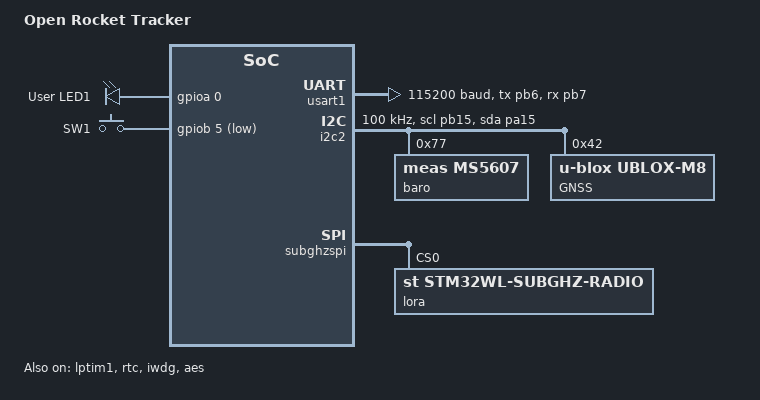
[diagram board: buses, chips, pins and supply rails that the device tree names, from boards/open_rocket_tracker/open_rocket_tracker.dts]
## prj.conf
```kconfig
# Enable LoRa
CONFIG_LORA=y

# Enable comms driver
CONFIG_SERIAL=y
CONFIG_I2C=y
CONFIG_SPI=y 

# Enable GPIO
CONFIG_GPIO=y

# Enable sensors
CONFIG_SENSOR=y

# Enable GNSS
CONFIG_GNSS=y

# Console
CONFIG_CONSOLE=y
CONFIG_PRINTK=y
CONFIG_UART_CONSOLE=y

# Enable MPU
CONFIG_ARM_MPU=y

# Enable HW stack protection
CONFIG_HW_STACK_PROTECTION=y
```

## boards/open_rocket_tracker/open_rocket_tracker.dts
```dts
/*
 * Copyright (c) 2023 Marcin Niestroj
 *
 * SPDX-License-Identifier: Apache-2.0
 */

/dts-v1/;
#include <seeed_studio/lora-e5.dtsi>
#include <zephyr/dt-bindings/input/input-event-codes.h>

/ {
	model = "Open Rocket Tracker";
	compatible = "orca,rocket-tracker";

	chosen {
		zephyr,console = &usart1;
		zephyr,shell-uart = &usart1;
		zephyr,sram = &sram0;
		zephyr,flash = &flash0;
		zephyr,code-partition = &slot0_partition;
	};

	leds {
		compatible = "gpio-leds";
		red_led_1: led_1 {
			gpios = <&gpioa 0 GPIO_ACTIVE_HIGH>;
			label = "User LED1";
		};
	};

	gpio_keys {
		compatible = "gpio-keys";
		boot_button: button_0 {
			label = "SW1";
			gpios = <&gpiob 5 (GPIO_ACTIVE_LOW | GPIO_PULL_UP)>;
			zephyr,code = <INPUT_KEY_0>;
		};
	};

	aliases {
		led0 = &red_led_1;
		sw0 = &boot_button;
		lora0 = &lora;
		watchdog0 = &iwdg;
	};
};

stm32_lp_tick_source: &lptim1 {
	status = "okay";
	clocks = <&rcc STM32_CLOCK_BUS_APB1 0x80000000>,
		 <&rcc STM32_SRC_LSI LPTIM1_SEL(1)>;
};

&clk_lsi {
	status = "okay";
};

&clk_msi {
	status = "okay";
	msi-range = <11>;
};

&rcc {
	clocks = <&clk_msi>;
	clock-frequency = <DT_FREQ_M(48)>;
	cpu1-prescaler = <1>;
	ahb3-prescaler = <1>;
	apb1-prescaler = <1>;
	apb2-prescaler = <1>;
};

&usart1 {
	pinctrl-0 = <&usart1_tx_pb6 &usart1_rx_pb7>;
	pinctrl-names = "default";
	current-speed = <115200>;
	status = "okay";
};

&i2c2 {
	pinctrl-0 = <&i2c2_scl_pb15 &i2c2_sda_pa15>;
	pinctrl-names = "default";
	status = "okay";
	clock-frequency = <I2C_BITRATE_STANDARD>;
	baro@77 {
        compatible = "meas,ms5607";
        reg = <0x77>;
        status = "okay";
    };
	gnss@42 {
        compatible = "u-blox,ublox-m8";
        reg = <0x42>;
        label = "GNSS";
    };
};

&rtc {
	clocks = <&rcc STM32_CLOCK_BUS_APB1 0x00000400>,
		 <&rcc STM32_SRC_LSI RTC_SEL(2)>;
	status = "okay";
};

&iwdg {
	status = "okay";
};

&aes {
	status = "okay";
};

&flash0 {
	partitions {
		compatible = "fixed-partitions";
		#address-cells = <1>;
		#size-cells = <1>;

		boot_partition: partition@0 {
			label = "mcuboot";
			reg = <0x00000000 DT_SIZE_K(48)>;
		};
		slot0_partition: partition@c000 {
			label = "image-0";
			reg = <0x0000c000 DT_SIZE_K(96)>;
		};
		slot1_partition: partition@24000 {
			label = "image-1";
			reg = <0x00024000 DT_SIZE_K(96)>;
		};

		/* 16KB (8x2kB pages) of storage at the end of the flash */
		storage_partition: partition@3c000 {
			label = "storage";
			reg = <0x0003c000 DT_SIZE_K(16)>;
		};
	};
};

/* Add this to your open_rocket_tracker.dts if not already present */
&subghzspi {
    status = "okay";
    
    lora: radio@0 {
        compatible = "st,stm32wl-subghz-radio";
        reg = <0>;
        status = "okay";
    };
};
```

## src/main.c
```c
#include <zephyr/kernel.h>
#include <zephyr/device.h>
#include <zephyr/drivers/lora.h>
#include <zephyr/drivers/sensor.h>
#include <zephyr/drivers/i2c.h>
#include <zephyr/sys/printk.h>
#include <string.h>
#include <zephyr/sys/ring_buffer.h>

/* Configuration Constants */
#define TX_PACKET_SIZE 25
#define TX_INTERVAL_MS 2000
#define GPS_I2C_ADDR 0x42
#define GPS_BUFFER_SIZE 512

/* Thread Configuration */
#define BARO_STACK_SIZE 1024
#define TX_STACK_SIZE 1024
#define GNSS_STACK_SIZE 2048  // GNSS needs more stack for parsing
#define BARO_PRIORITY 1    
#define GNSS_PRIORITY 1    
#define TX_PRIORITY 2      

/* Thread Stacks */
K_THREAD_STACK_DEFINE(baro_stack, BARO_STACK_SIZE);
K_THREAD_STACK_DEFINE(tx_stack, TX_STACK_SIZE);
K_THREAD_STACK_DEFINE(gnss_stack, GNSS_STACK_SIZE);

/* Thread Data Objects */
static struct k_thread baro_thread_data;
static struct k_thread tx_thread_data;
static struct k_thread gnss_thread_data;

/* Synchronization */
K_SEM_DEFINE(data_ready_sem, 0, 1);
K_MUTEX_DEFINE(data_mutex);

/* Ring buffer configuration */
#define RING_BUF_SIZE 1024
static struct ring_buf gnss_ring_buf;
static uint8_t ring_buffer_data[RING_BUF_SIZE];

/* Device pointers */
static const struct device *lora_dev = DEVICE_DT_GET(DT_ALIAS(lora0));
static const struct device *ms5607_dev = DEVICE_DT_GET_ANY(meas_ms5607);
static const struct device *i2c_dev = DEVICE_DT_GET(DT_NODELABEL(i2c2));

/* Data packet structure */
union DataPacket {
    struct {
        int32_t latitude;     
        int32_t longitude;    
        int32_t altitude;     
        uint32_t timeMs;      
        int32_t pressure;     
        int16_t temperature;  
        uint8_t satellites;   
        uint8_t status;       
        uint8_t checksum;     
    } fields;
    uint8_t buffer[TX_PACKET_SIZE];
};

/* Shared data packet */
static union DataPacket shared_packet;

/* GNSS thread function */
static void gnss_thread(void *arg1, void *arg2, void *arg3)
{
    /* Make sure the I2C device is ready */
    if (!device_is_ready(i2c_dev)) {
        printk("I2C device not ready for GNSS\n");
        return;
    }

    /* Initialize ring buffer */
    ring_buf_init(&gnss_ring_buf, sizeof(ring_buffer_data), ring_buffer_data);

    uint8_t temp_byte;
    uint8_t parse_buffer[GPS_BUFFER_SIZE];
    
    while (1) {
        /* Read from I2C into ring buffer */
        while (ring_buf_space_get(&gnss_ring_buf) > 0) {
            int ret = i2c_read(i2c_dev, &temp_byte, 1, GPS_I2C_ADDR);
            if (ret < 0) {
                printk("GNSS I2C read error\n");
                break;
            }

            /* Accept ASCII range + CR/LF */
            if ((temp_byte >= 32 && temp_byte <= 126) || 
                temp_byte == '\r' || temp_byte == '\n') {
                uint32_t bytes_written = ring_buf_put(&gnss_ring_buf, 
                                                    &temp_byte, 1);
                if (bytes_written != 1) {
                    printk("Ring buffer full\n");
                    break;
                }
            } else {
                break; /* stop reading if it's not a typical NMEA char */
            }
        }

        /* Process data from ring buffer */
        uint32_t bytes_available = ring_buf_size_get(&gnss_ring_buf);
        if (bytes_available > 0) {
            /* Read data from ring buffer into parse buffer */
            uint32_t bytes_read = ring_buf_get(&gnss_ring_buf, 
                                             parse_buffer,
                                             MIN(bytes_available, GPS_BUFFER_SIZE));

            /* Look for GGA sentences in the buffer */
            for (size_t i = 0; i < bytes_read; i++) {
                /* Start of an NMEA sentence? */
                if (parse_buffer[i] == '$') {
                    /* Check if it's GGA ($GNGGA or $GPGGA) */
                    if ((i + 5 < bytes_read) &&
                       ((strncmp((char *)&parse_buffer[i], "$GNGGA", 6) == 0) ||
                        (strncmp((char *)&parse_buffer[i], "$GPGGA", 6) == 0))) {

                        /* Find the end '*' or run out of buffer */
                        size_t end_idx = i;
                        while ((end_idx < bytes_read) && 
                               (parse_buffer[end_idx] != '*')) {
                            end_idx++;
                        }

                        /* If we found '*', we at least have a full sentence */
                        if (end_idx < bytes_read) {
                            /* Temporarily make it a string by adding null terminator */
                            if (end_idx + 3 < bytes_read) {
                                parse_buffer[end_idx] = '\0';
                            }

                            /* Your existing NMEA parsing code remains the same */
                            char *sentence = (char *)&parse_buffer[i];
                            char *token;
                            int field_idx = 0;

                            /* Temporary local vars */
                            uint8_t satellites = 0;
                            int32_t altitude = 0;
                            int32_t lat_degs_fixed = 0;
                            int32_t lon_degs_fixed = 0;
                            int32_t gnss_time_hhmmss = 0;

                            token = strtok(sentence, ",");
                            while (token != NULL) {
                                field_idx++;
                                token = strtok(NULL, ",");

                                if (token == NULL) {
                                    break;
                                }

                                /* Your existing switch case for parsing remains the same */
                                switch (field_idx) {
                                    case 1: {
                                        /* hhmmss.sss (GNSS time) */
                                        /* We'll store as integer HHMMSS (ignore decimals) */
                                        /* e.g. "123519.00" -> 123519  */
                                        char hhmmss_str[7] = {0}; 
                                        strncpy(hhmmss_str, token, 6); 
                                        gnss_time_hhmmss = atoi(hhmmss_str);
                                        break;
                                    }
                                    case 2: {
                                        /* latitude in ddmm.mmmm */
                                        /* We'll parse to decimal degrees * 1e7 to store in int32 */
                                        /* example: "5133.8201" -> 51 + (33.8201/60) = 51.56367 deg */
                                        double raw_lat = atof(token);
                                        int deg = (int)(raw_lat / 100.0);
                                        double min = raw_lat - (deg * 100.0);
                                        double dec_deg = deg + (min / 60.0);
                                        /* Multiply by 1e7 for int32 storage (common approach) */
                                        lat_degs_fixed = (int32_t)(dec_deg * 1e7);
                                        break;
                                    }
                                    case 3: {
                                        /* 'N' or 'S' */
                                        if (*token == 'S') {
                                            lat_degs_fixed = -lat_degs_fixed;
                                        }
                                        break;
                                    }
                                    case 4: {
                                        /* longitude in dddmm.mmmm */
                                        double raw_lon = atof(token);
                                        int deg = (int)(raw_lon / 100.0);
                                        double min = raw_lon - (deg * 100.0);
                                        double dec_deg = deg + (min / 60.0);
                                        lon_degs_fixed = (int32_t)(dec_deg * 1e7);
                                        break;
                                    }
                                    case 5: {
                                        /* 'E' or 'W' */
                                        if (*token == 'W') {
                                            lon_degs_fixed = -lon_degs_fixed;
                                        }
                                        break;
                                    }
                                    case 7: {
                                        /* satellites in use */
                                        satellites = (uint8_t)atoi(token);
                                        break;
                                    }
                                    case 9: {
                                        /* altitude in meters */
                                        double alt_f = atof(token);
                                        altitude = (int32_t)alt_f;
                                        break;
                                    }
                                    default:
                                        /* We skip the rest */
                                        break;
                            }
                            }

                            /* Update shared_packet with new GNSS data */
                            k_mutex_lock(&data_mutex, K_FOREVER);
                            shared_packet.fields.latitude = lat_degs_fixed;
                            shared_packet.fields.longitude = lon_degs_fixed;
                            shared_packet.fields.altitude = altitude;
                            shared_packet.fields.timeMs = gnss_time_hhmmss;
                            shared_packet.fields.satellites = satellites;
                            shared_packet.fields.status = 1;
                            k_mutex_unlock(&data_mutex);

                            /* Signal new data */
                            k_sem_give(&data_ready_sem);
                            
                            /* Move i forward, we're done with this sentence */
                            i = end_idx;
                        }
                    }
                }
            }
        }

        /* Add monitoring for ring buffer usage */
        uint32_t space_available = ring_buf_space_get(&gnss_ring_buf);
        uint32_t usage_percent = ((RING_BUF_SIZE - space_available) * 100) / RING_BUF_SIZE;
        
        if (usage_percent > 80) {
            printk("Warning: GNSS ring buffer usage at %u%%\n", usage_percent);
        }

        /* Small delay before next read cycle */
        k_msleep(50);  // Reduced delay since we're using ring buffer
    }
}


/* Function to compute checksum */
static uint8_t compute_checksum(const uint8_t *data, size_t len) {
    uint8_t checksum = 0;
    for (size_t i = 0; i < len; i++) {
        checksum ^= data[i];
    }
    return checksum;
}

/* Barometer thread function */
static void baro_thread(void *arg1, void *arg2, void *arg3) {
    while (1) {
        if (device_is_ready(ms5607_dev)) {
            struct sensor_value press_val, temp_val;
            int ret;

            /* Take mutex before updating shared data */
            k_mutex_lock(&data_mutex, K_FOREVER);

            ret = sensor_sample_fetch(ms5607_dev);
            if (ret == 0) {
                /* Get pressure */
                ret = sensor_channel_get(ms5607_dev, SENSOR_CHAN_PRESS, &press_val);
                if (ret == 0) {
                    int32_t press_hpa_int = press_val.val1;
                    int32_t press_hpa_frac = press_val.val2 / 10000;
                    int32_t pressure_pa = (press_hpa_int * 100 + press_hpa_frac) * 100;
                    shared_packet.fields.pressure = pressure_pa;
                }

                /* Get temperature */
                ret = sensor_channel_get(ms5607_dev, 
                                       SENSOR_CHAN_AMBIENT_TEMP, 
                                       &temp_val);
                if (ret == 0) {
                    int32_t t_int = temp_val.val1;
                    int32_t t_frac = temp_val.val2 / 10000;
                    int32_t temperature_centi = t_int * 100 + t_frac;
                    shared_packet.fields.temperature = (int16_t)temperature_centi;
                }

                /* Update timestamp */
                shared_packet.fields.timeMs = k_uptime_get_32();
            }

            k_mutex_unlock(&data_mutex);

            /* Signal that new data is ready */
            k_sem_give(&data_ready_sem);
        }

        /* Wait before next reading */
        k_msleep(500);  /* Sample at 2Hz */
    }
}

/* Transmitter thread function */
static void tx_thread(void *arg1, void *arg2, void *arg3) {
    /* Configure LoRa radio */
    struct lora_modem_config config = {
        .frequency = 922600000,
        .bandwidth = BW_125_KHZ,
        .datarate = SF_12,
        .coding_rate = CR_4_5,
        .preamble_len = 8,
        .tx_power = 13,
        .tx = true,
        .public_network = false,
        .iq_inverted = false,
    };

    if (lora_config(lora_dev, &config) < 0) {
        printk("LoRa config failed\n");
        return;
    }

    union DataPacket tx_packet;

    while (1) {
        /* Wait for new data */
        k_sem_take(&data_ready_sem, K_FOREVER);

        /* Copy shared data safely */
        k_mutex_lock(&data_mutex, K_FOREVER);
        memcpy(&tx_packet, &shared_packet, sizeof(union DataPacket));
        k_mutex_unlock(&data_mutex);

        /* Compute and add checksum */
        tx_packet.fields.checksum = compute_checksum(tx_packet.buffer, 
                                                   TX_PACKET_SIZE - 1);

        /* Transmit packet */
        int ret = lora_send(lora_dev, tx_packet.buffer, TX_PACKET_SIZE);
        if (ret < 0) {
            printk("LoRa send failed: %d\n", ret);
        } else {
            printk("LoRa packet sent (CHKSUM=0x%02X)\n", 
                   tx_packet.fields.checksum);
        }

        k_msleep(TX_INTERVAL_MS);
    }
}

int main(void)
{
    /* Check device readiness */
    if (!device_is_ready(lora_dev) || !device_is_ready(i2c_dev)) {
        printk("LoRa or I2C device not ready\n");
        return 1;
    }

    if (!device_is_ready(ms5607_dev)) {
        printk("MS5607 sensor not ready\n");
        return 2;
    }

    /* Initialize shared packet */
    memset(&shared_packet, 0, sizeof(shared_packet));

    /* Create threads */
    k_thread_create(&baro_thread_data,
                   baro_stack,
                   BARO_STACK_SIZE,
                   baro_thread,
                   NULL, NULL, NULL,
                   BARO_PRIORITY,
                   0,
                   K_NO_WAIT);

    k_thread_create(&gnss_thread_data,
                   gnss_stack,
                   GNSS_STACK_SIZE,
                   gnss_thread,
                   NULL, NULL, NULL,
                   GNSS_PRIORITY,
                   0,
                   K_NO_WAIT);

    k_thread_create(&tx_thread_data,
                   tx_stack,
                   TX_STACK_SIZE,
                   tx_thread,
                   NULL, NULL, NULL,
                   TX_PRIORITY,
                   0,
                   K_NO_WAIT);

    /* Name threads for debugging */
    k_thread_name_set(&baro_thread_data, "baro_thread");
    k_thread_name_set(&gnss_thread_data, "gnss_thread");
    k_thread_name_set(&tx_thread_data, "tx_thread");

    return 0;
}
```
